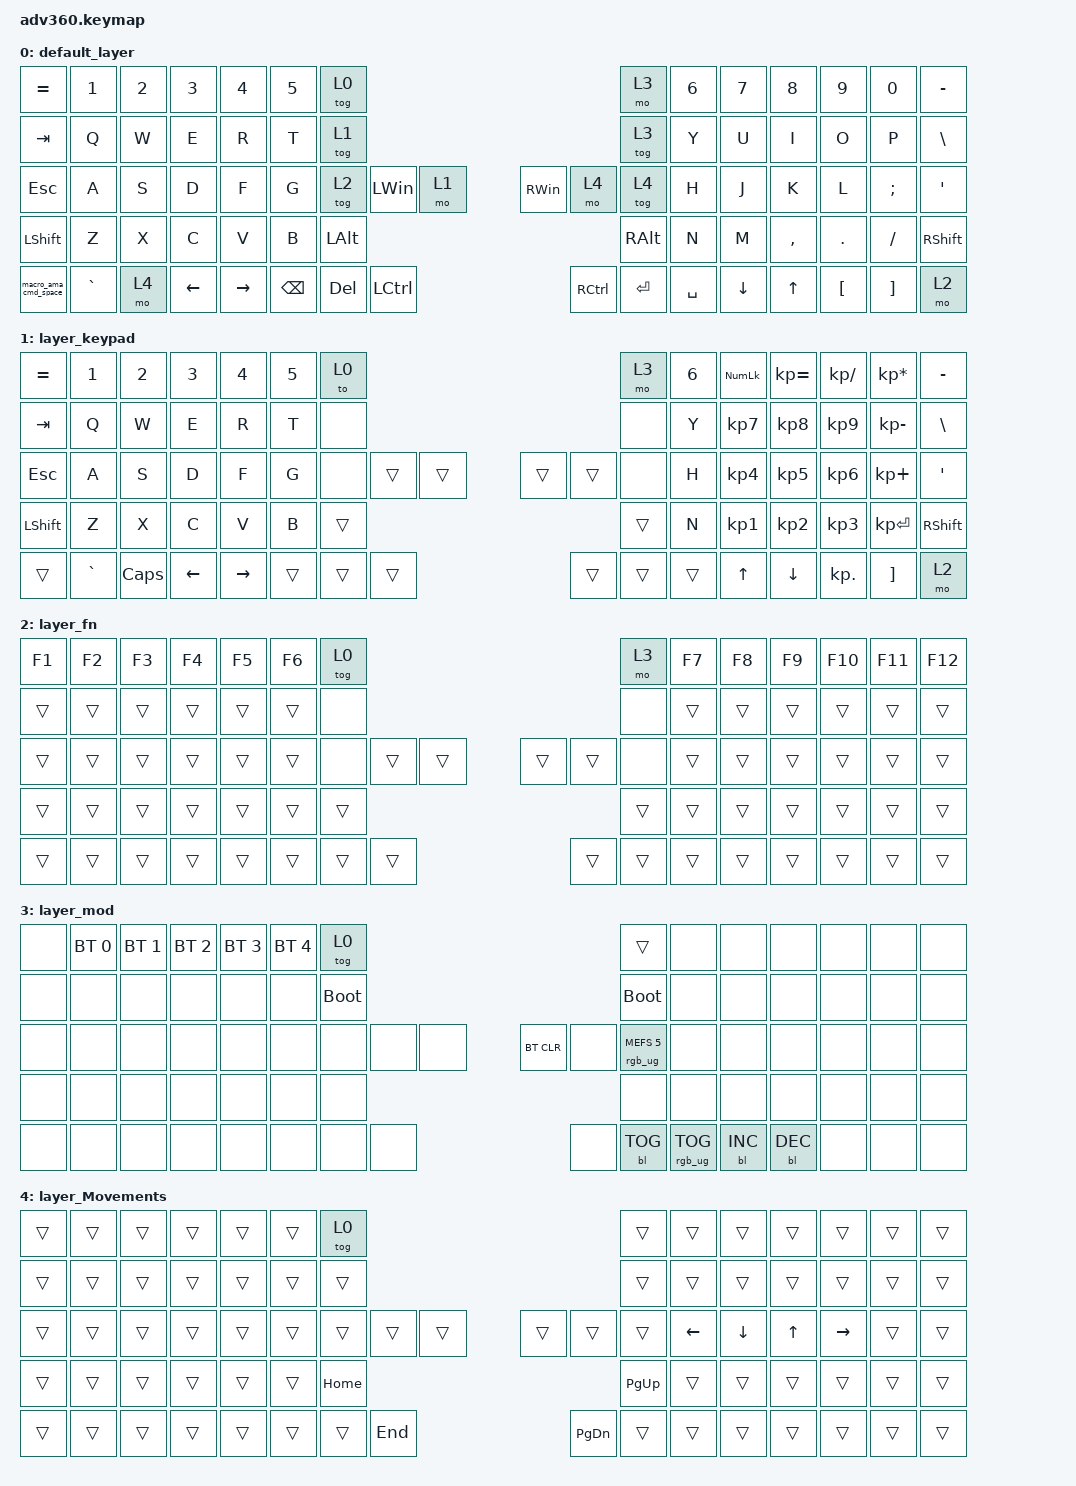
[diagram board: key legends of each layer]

/*
 * Copyright (c) 2020 The ZMK Contributors
 *
 * SPDX-License-Identifier: MIT
 */


/* THIS FILE WAS GENERATED!
 *
 * This file was generated automatically. You may or may not want to
 * edit it directly.
 */

#include <behaviors.dtsi>
#include <dt-bindings/zmk/keys.h>
#include <dt-bindings/zmk/bt.h>
#include <dt-bindings/zmk/rgb.h>
#include <dt-bindings/zmk/backlight.h>

/ {
  behaviors {
    #include "macros.dtsi"

    hm: homerow_mods {
        compatible = "zmk,behavior-hold-tap";
        label = "HOMEROW_MODS";
        #binding-cells = <2>;
        tapping-term-ms = <200>;
        quick_tap_ms = <175>;
        flavor = "tap-preferred";
        bindings = <&kp>, <&kp>;
    };
  };

    keymap {
        compatible = "zmk,keymap";


        default_layer {
            bindings = <
            &kp EQUAL     &kp N1  &kp N2    &kp N3     &kp N4  &kp N5              &tog 0                                                                         &mo 3  &kp N6    &kp N7     &kp N8    &kp N9    &kp N0  &kp MINUS
              &kp TAB      &kp Q   &kp W     &kp E      &kp R   &kp T              &tog 1                                                                        &tog 3   &kp Y     &kp U      &kp I     &kp O     &kp P   &kp BSLH
              &kp ESC      &kp A   &kp S     &kp D      &kp F   &kp G              &tog 2  &kp LEFT_WIN      &mo 1                  &kp RIGHT_WIN      &mo 4     &tog 4   &kp H     &kp J      &kp K     &kp L  &kp SEMI    &kp SQT
            &kp LSHFT      &kp Z   &kp X     &kp C      &kp V   &kp B                                     &kp LALT                  &kp RIGHT_ALT                         &kp N     &kp M  &kp COMMA   &kp DOT  &kp FSLH  &kp RSHFT
 &macro_ama_cmd_space  &kp GRAVE   &mo 4  &kp LEFT  &kp RIGHT                    &kp BSPC       &kp DEL  &kp LCTRL                      &kp RCTRL  &kp ENTER  &kp SPACE          &kp DOWN     &kp UP  &kp LBKT  &kp RBKT      &mo 2
            >;
        };

        layer_keypad {
            bindings = <
 &kp EQUAL     &kp N1    &kp N2    &kp N3     &kp N4  &kp N5             &to 0                                                   &mo 3  &kp N6  &kp KP_NUM  &kp KP_EQUAL  &kp KP_DIVIDE  &kp KP_MULTIPLY  &kp MINUS
   &kp TAB      &kp Q     &kp W     &kp E      &kp R   &kp T             &none                                                   &none   &kp Y   &kp KP_N7     &kp KP_N8      &kp KP_N9     &kp KP_MINUS   &kp BSLH
   &kp ESC      &kp A     &kp S     &kp D      &kp F   &kp G             &none  &trans  &trans                  &trans  &trans   &none   &kp H   &kp KP_N4     &kp KP_N5      &kp KP_N6      &kp KP_PLUS    &kp SQT
 &kp LSHFT      &kp Z     &kp X     &kp C      &kp V   &kp B                            &trans                  &trans                   &kp N   &kp KP_N1     &kp KP_N2      &kp KP_N3     &kp KP_ENTER  &kp RSHFT
    &trans  &kp GRAVE  &kp CAPS  &kp LEFT  &kp RIGHT                    &trans  &trans  &trans                  &trans  &trans  &trans              &kp UP      &kp DOWN     &kp KP_DOT         &kp RBKT      &mo 2
            >;
        };

        layer_fn {
            bindings = <
 &kp F1  &kp F2  &kp F3  &kp F4  &kp F5  &kp F6            &tog 0                                                   &mo 3  &kp F7  &kp F8  &kp F9  &kp F10  &kp F11  &kp F12
 &trans  &trans  &trans  &trans  &trans  &trans             &none                                                   &none  &trans  &trans  &trans   &trans   &trans   &trans
 &trans  &trans  &trans  &trans  &trans  &trans             &none  &trans  &trans                  &trans  &trans   &none  &trans  &trans  &trans   &trans   &trans   &trans
 &trans  &trans  &trans  &trans  &trans  &trans                            &trans                  &trans                  &trans  &trans  &trans   &trans   &trans   &trans
 &trans  &trans  &trans  &trans  &trans                    &trans  &trans  &trans                  &trans  &trans  &trans          &trans  &trans   &trans   &trans   &trans
            >;
        };

        layer_mod {
            bindings = <
  &none  &bt BT_SEL 0  &bt BT_SEL 1  &bt BT_SEL 2  &bt BT_SEL 3  &bt BT_SEL 4                 &tog 0                                                                          &trans   &none       &none       &none   &none   &none   &none
  &none         &none         &none         &none         &none         &none            &bootloader                                                                     &bootloader   &none       &none       &none   &none   &none   &none
  &none         &none         &none         &none         &none         &none                  &none   &none   &none                  &bt BT_CLR       &none  &rgb_ug RGB_MEFS_CMD 5   &none       &none       &none   &none   &none   &none
  &none         &none         &none         &none         &none         &none                                  &none                       &none                                       &none       &none       &none   &none   &none   &none
  &none         &none         &none         &none         &none                                &none   &none   &none                       &none  &bl BL_TOG         &rgb_ug RGB_TOG          &bl BL_INC  &bl BL_DEC   &none   &none   &none
            >;
        };

        layer_Movements {
            bindings = <
 &trans  &trans  &trans  &trans  &trans  &trans            &tog 0                                                           &trans    &trans    &trans  &trans     &trans  &trans  &trans
 &trans  &trans  &trans  &trans  &trans  &trans            &trans                                                           &trans    &trans    &trans  &trans     &trans  &trans  &trans
 &trans  &trans  &trans  &trans  &trans  &trans            &trans  &trans    &trans                         &trans  &trans  &trans  &kp LEFT  &kp DOWN  &kp UP  &kp RIGHT  &trans  &trans
 &trans  &trans  &trans  &trans  &trans  &trans                            &kp HOME                    &kp PAGE_UP                    &trans    &trans  &trans     &trans  &trans  &trans
 &trans  &trans  &trans  &trans  &trans                    &trans  &trans   &kp END                  &kp PAGE_DOWN  &trans  &trans              &trans  &trans     &trans  &trans  &trans
            >;
        };

    };
};
